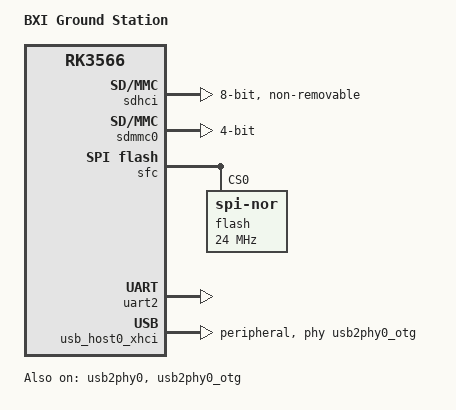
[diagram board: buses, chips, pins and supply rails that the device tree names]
// SPDX-License-Identifier: (GPL-2.0+ OR MIT)
/*
 * Minimal device tree for the BXI Ground Station board.
 *
 * DRAM: CXMT CXDB4CCAM-MJ LPDDR4/LPDDR4X (16 Gbit / 2 GiB).
 * Storage: 32 Mbit (4 MiB) SPI NOR and 2 GiB eMMC.
 * Boot firmware is stored in SPI NOR; eMMC is used for the OS.
 *
 * This describes the common RK3566 boot interfaces. Board-specific
 * peripherals should be added once their wiring is known.
 */

/dts-v1/;
#include "rk356x-base.dtsi"

/ {
	model = "BXI Ground Station";
	compatible = "bxi,ground-station", "rockchip,rk3566";

	aliases {
		mmc0 = &sdhci;
		mmc1 = &sdmmc0;
	};

	chosen {
		stdout-path = "serial2:1500000n8";
	};
};

&sdhci {
	bus-width = <8>;
	cap-mmc-highspeed;
	mmc-hs200-1_8v;
	no-sd;
	no-sdio;
	non-removable;
	pinctrl-names = "default";
	pinctrl-0 = <&emmc_bus8 &emmc_clk &emmc_cmd &emmc_datastrobe>;
	status = "okay";
};

&sdmmc0 {
	bus-width = <4>;
	cap-sd-highspeed;
	disable-wp;
	no-mmc;
	no-sdio;
	pinctrl-names = "default";
	pinctrl-0 = <&sdmmc0_bus4 &sdmmc0_clk &sdmmc0_cmd &sdmmc0_det>;
	status = "okay";
};

&sfc {
	#address-cells = <1>;
	#size-cells = <0>;
	status = "okay";

	flash@0 {
		compatible = "jedec,spi-nor";
		reg = <0>;
		spi-max-frequency = <24000000>;
	};
};

&uart2 {
	status = "okay";
};

&usb_host0_xhci {
	dr_mode = "peripheral";
	extcon = <&usb2phy0>;
	maximum-speed = "high-speed";
	phys = <&usb2phy0_otg>;
	phy-names = "usb2-phy";
	status = "okay";
};

&usb2phy0 {
	status = "okay";
};

&usb2phy0_otg {
	status = "okay";
};
